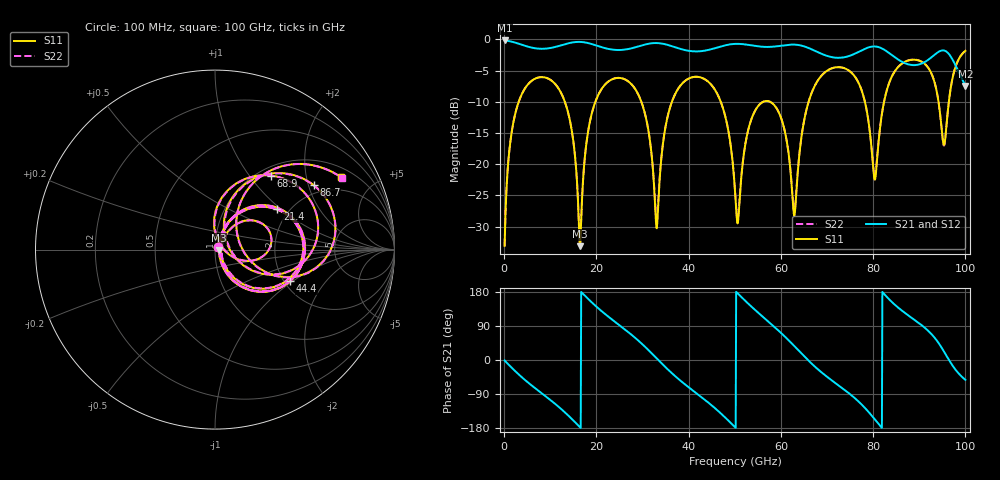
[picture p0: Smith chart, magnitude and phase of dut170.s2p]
! Touchstone file exported from HFSS 2026.1.0
!  File:  C:/ffzhzh/LocalFiles/Ansys_Project_Files/temp_train_TSV_RDL_170_1783650638_26216.aedt
!  Generated:  10:41:03 AM Jul 10, 2026
!  Design:  TSV_RDL
!  Project:  temp_train_TSV_RDL_170_1783650638_26216
! Variables:
!  h_bsmrdl = 3.43um
!  h_ox = 20um
!  h_rdl = 5um
!  h_sub = 75.49um
!  h_tmrdl = 2.94um
!  h_tsv = 75.49um
!  h_via = 3um
!  l_bsmrdl = 402.97um
!  l_sub = 3590.38um
!  l_tmrdl = 465.36um
!  m_sub = 200um
!  pitch = 46.04um
!  r_tsv = 9.85um
!  s_tmrdl = 10um
!  w_bsmrdl = 17.37um
!  w_sub = 500um
!  w_tmrdl = 22.64um
!  x_tsv_center1 = 476.68um
!  x_tsv_center2 = 897.02um
!  x_tsv_center3 = 1385.02um
!  x_tsv_center4 = 1805.36um
!  x_tsv_center5 = 2293.36um
!  x_tsv_center6 = 2713.7um
# GHz S MA R 50.000000
! Terminal data exported
! Port[1] = TM_RDL1_1_T1
! Port[2] = TM_RDL5_1_T1
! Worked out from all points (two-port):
!   1000 points, 100 MHz to 100 GHz, reference 50 ohm
!   highest |S21| = -0.16 dB at 100 MHz (marker M1); lowest = -7.5 dB at 100 GHz (marker M2)
!   |S21| within 3 dB of the highest: start of sweep to 85.3 GHz; 92.13 GHz to 97.17 GHz (5.039 GHz wide, 5.32 % of centre)
!   lowest |S11| = -33.1 dB at 16.4 GHz (marker M3), VSWR 1.05, Z = 52.2 - j0.388 ohm
!   |S11| at or under -10 dB: 13.16 GHz to 19.78 GHz (6.615 GHz wide, 40.2 % of centre); 46.96 GHz to 56.15 GHz (9.183 GHz wide, 17.8 % of centre); 57.67 GHz to 66.01 GHz (8.336 GHz wide, 13.5 % of centre) (the widest 3 of 7)
!   |S22| runs from -33.1 to -1.8 dB; largest |S21 - S12| = 1.6e-13
!   S11 on the Smith chart (normalised r, x): 100 MHz: 1.04, +0.03; 21.4 GHz: 1.74, +0.95; 44.4 GHz: 2.15, -0.95; 68.9 GHz: 1.14, +1.28; 86.7 GHz: 1.71, +2.16; 100 GHz: 1.38, +3.23
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0.1  0.02213 33.1  0.9817 -1.3  0.9817 -1.3  0.02213 33.1
! Gamma 0 0 0 0
! Port Impedance 50 0 50 0
2.4  0.2532 55.1  0.9434 -29.4  0.9434 -29.4  0.2532 55.1
7.9  0.4987 2.5  0.8421 -85.5  0.8421 -85.5  0.4986 2.6
13.7  0.2731 -52.3  0.927 -144.2  0.927 -144.2  0.2731 -52.2
16.4  0.02201 -9.7  0.956 -176.7  0.956 -176.7  0.02229 -9.4
16.8  0.04422 57.3  0.9542 178.3  0.9542 178.3  0.0444 57.1
21.4  0.4141 32.9  0.8614 126.1  0.8614 126.1  0.4141 33.1
29.1  0.3606 -37.0  0.8793 51.1  0.8793 51.1  0.3606 -36.5
33.4  0.04713 49.0  0.9345 0.3  0.9345 0.3  0.04932 46.4
36.8  0.3467 45.5  0.8723 -39.6  0.8723 -39.6  0.347 45.2
44.4  0.4531 -22.6  0.8263 -113.7  0.8263 -113.7  0.4531 -22.5
50.1  0.0572 -52.2  0.9215 -177.8  0.9215 -177.8  0.05856 -50.3
58.8  0.29 -3.1  0.8787 85.2  0.8787 85.2  0.2901 -3.0
62.9  0.03865 32.9  0.909 36.9  0.909 36.9  0.04117 33.3
66.7  0.3758 73.5  0.8324 -10.0  0.8324 -10.0  0.3764 73.1
68.9  0.5173 52.9  0.7645 -33.5  0.7645 -33.5  0.5177 52.6
76.6  0.4668 -12.2  0.7867 -106.9  0.7867 -106.9  0.467 -12.0
80.3  0.07532 15.7  0.8789 -155.7  0.8789 -155.7  0.07918 16.1
83.4  0.4404 62.2  0.7814 161.0  0.7814 161.0  0.4415 61.6
86.7  0.6566 33.2  0.6496 125.9  0.6496 125.9  0.6572 32.8
95.6  0.1569 38.9  0.8101 17.4  0.8101 17.4  0.1556 38.9
100  0.8111 29.7  0.424 -52.4  0.424 -52.4  0.8112 29.6
